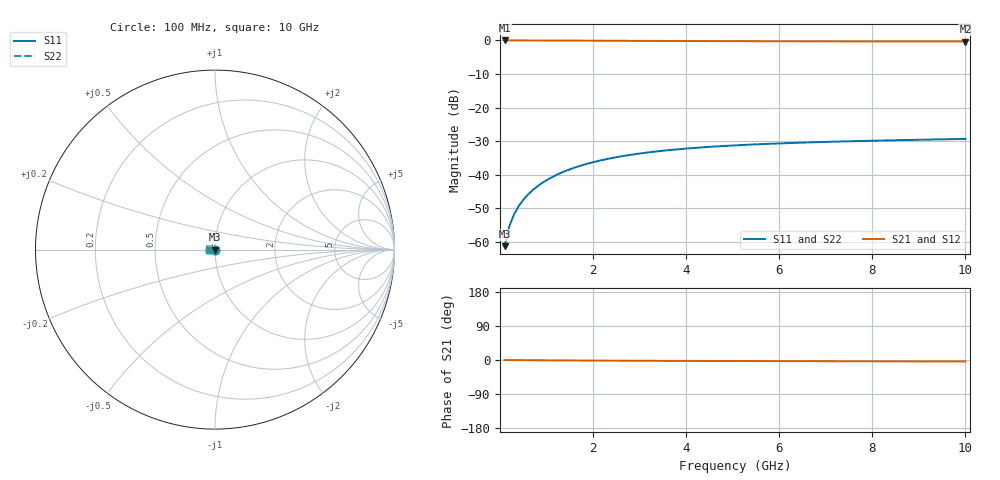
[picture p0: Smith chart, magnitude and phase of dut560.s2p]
! Touchstone file exported from HFSS 2024.1.0
!  File:  C:/UserFiles/LocalFiles/RDL_TSV_Batchsim/temp_TSV1_560_1779707300.aedt
!  Generated:  07:13:25 PM May 25, 2026
!  Design:  TSV1
!  Project:  temp_TSV1_560_1779707300
!  Setup:  Setup1
!  Solution:  Sweep
! Variables:
!  dtsv = 8.73um
!  hbump = 3um
!  htsv = 59.73um
!  lrdl = 252.1521522um
!  p = 40
!  p1 = 40.89um
!  t = 500um
!  trdl = 3um
!  wrdl = 24.89489489um
# GHz S MA R 50.000000
! Terminal data exported
! Port[1] = TSV22_T1
! Port[2] = TSV22_T2
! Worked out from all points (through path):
!   100 points, 100 MHz to 10 GHz, reference 50 ohm
!   highest |S21| = 0.00 dB at 100 MHz (marker M1); lowest = -0.3 dB at 10 GHz (marker M2)
!   lowest |S11| = -61.3 dB at 100 MHz (marker M3), VSWR 1.00, Z = 50 - j0.0855 ohm
!   |S11| at or under -10 dB: start of sweep to end of sweep
!   |S22| runs from -61.3 to -29.3 dB; largest |S21 - S12| = 4e-15
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0.1  0.0008659 -80.7  0.9998 -0.1  0.9998 -0.1  0.0008659 -80.7
! Gamma 0 0 0 0
! Port Impedance 50 0 50 0
0.2  0.001707 -87.8  0.9997 -0.2  0.9997 -0.2  0.001707 -87.8
0.3  0.002551 -91.2  0.9996 -0.3  0.9996 -0.3  0.002551 -91.2
0.4  0.003393 -93.8  0.9994 -0.4  0.9994 -0.4  0.003393 -93.8
0.5  0.004231 -95.9  0.9992 -0.4  0.9992 -0.4  0.004231 -95.9
0.6  0.005063 -97.9  0.9989 -0.5  0.9989 -0.5  0.005063 -97.9
0.7  0.005887 -99.7  0.9986 -0.6  0.9986 -0.6  0.005887 -99.7
0.8  0.006702 -101.4  0.9982 -0.7  0.9982 -0.7  0.006702 -101.4
0.9  0.007506 -103.1  0.9978 -0.8  0.9978 -0.8  0.007506 -103.1
1.1  0.009079 -106.3  0.997 -0.9  0.997 -0.9  0.009079 -106.3
1.4  0.01133 -110.9  0.9954 -1.1  0.9954 -1.1  0.01133 -110.9
1.6  0.01275 -113.8  0.9943 -1.3  0.9943 -1.3  0.01275 -113.8
1.8  0.0141 -116.6  0.9931 -1.4  0.9931 -1.4  0.0141 -116.6
2.1  0.016 -120.6  0.9913 -1.6  0.9913 -1.6  0.016 -120.6
2.5  0.01827 -125.5  0.9889 -1.8  0.9889 -1.8  0.01827 -125.5
2.9  0.02027 -130.1  0.9864 -2.0  0.9864 -2.0  0.02027 -130.1
3.4  0.02242 -135.2  0.9836 -2.2  0.9836 -2.2  0.02242 -135.2
4.2  0.02518 -142.5  0.9795 -2.5  0.9795 -2.5  0.02518 -142.5
5.1  0.02752 -149.3  0.9756 -2.7  0.9756 -2.7  0.02752 -149.4
6.7  0.03043 -159.1  0.9705 -3.1  0.9705 -3.1  0.03043 -159.1
8.4  0.03259 -167.3  0.9669 -3.5  0.9669 -3.5  0.03259 -167.3
10  0.03421 -173.9  0.9645 -3.9  0.9645 -3.9  0.03421 -173.9
